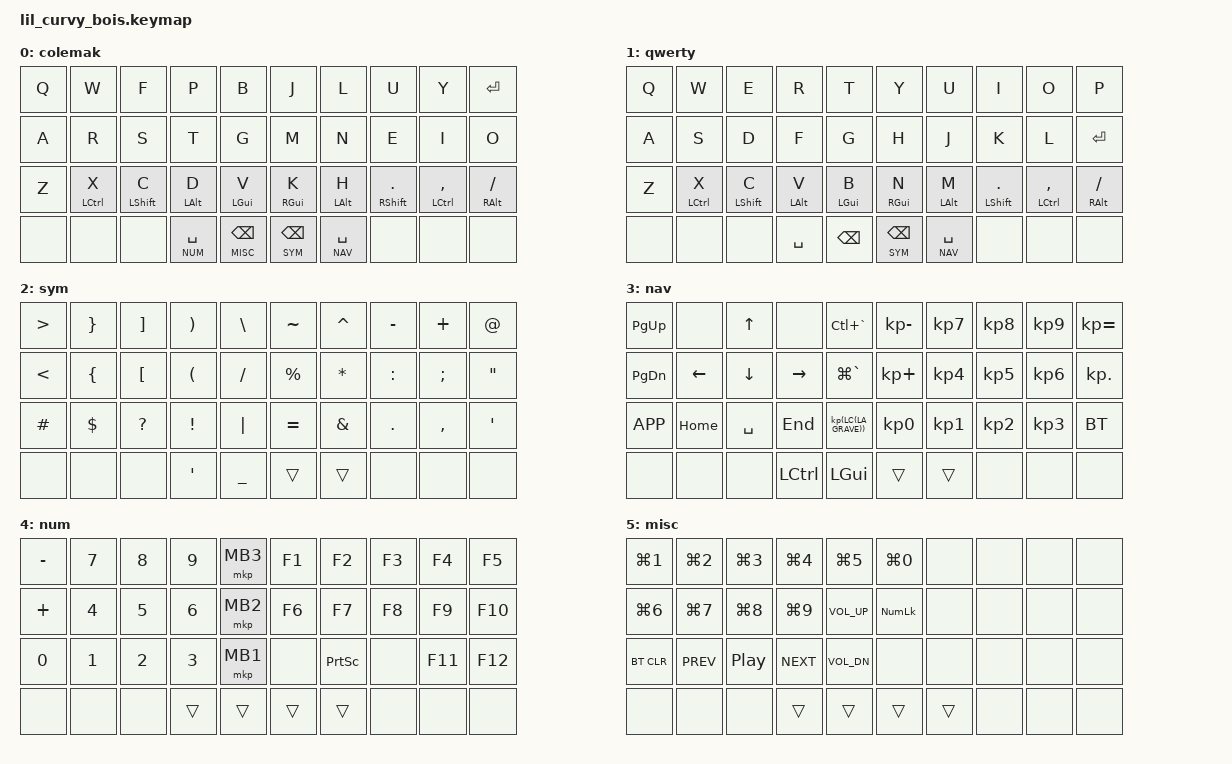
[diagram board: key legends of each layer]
#include <behaviors.dtsi>
#include <dt-bindings/zmk/keys.h>
#include <dt-bindings/zmk/bt.h>
#include <dt-bindings/zmk/outputs.h>
#include <dt-bindings/zmk/mouse.h>

#define COLEMAK 0
#define QWERTY 1
#define SYM 2
#define NAV 3
#define NUM 4
#define MISC 5

/ {
   behaviors {
             hm: homerow_mods {
                 compatible = "zmk,behavior-hold-tap";
                 label = "HOMEROW_MODS";
                 #binding-cells = <2>;
                 tapping-term-ms = <150>;
                 quick_tap_ms = <0>;
                 flavor = "tap-preferred";
                 bindings = <&kp>, <&kp>;
                 };
   };

keymap {
        compatible = "zmk,keymap";

colemak {
 bindings = <
 &kp Q &kp W       &kp F       &kp P      &kp B        &kp J      &kp L      &kp U         &kp Y           &kp ENTER
 &kp A &kp R       &kp S       &kp T      &kp G        &kp M      &kp N      &kp E         &kp I           &kp O
 &kp Z &hm LCTRL X &hm LSHFT C &hm LALT D &hm LGUI V   &hm RGUI K  &hm LALT H &hm RSHFT DOT &hm LCTRL COMMA &hm RALT SLASH
 &none &none &none        &lt NUM SPACE  &lt MISC BSPC &lt SYM BSPC &lt NAV SPACE &none &none &none
             >;
             };
             
///////////////////////////////////////////////////////////////////////////////////////////////////////////////////////////////
qwerty {
 bindings = <
 &kp Q &kp W       &kp E       &kp R      &kp T        &kp Y      &kp U      &kp I         &kp O           &kp P
 &kp A &kp S       &kp D       &kp F      &kp G        &kp H      &kp J      &kp K         &kp L           &kp ENTER
 &kp Z &hm LCTRL X &hm LSHFT C &hm LALT V &hm LGUI B   &hm RGUI N &hm LALT M &hm LSHFT DOT &hm LCTRL COMMA &hm RALT SLASH
 &none &none &none             &kp SPACE  &kp BSPC     &lt SYM BSPC   &lt NAV SPACE &none &none &none
             >;
             };
             
///////////////////////////////////////////////////////////////////////////////////////////////////////////////////////////////
sym {
 bindings = <
&kp GT    &kp RBRC  &kp RBKT  &kp RPAR  &kp BSLH       &kp TILDE &kp CARET &kp MINUS &kp PLUS  &kp AT 
&kp LT    &kp LBRC  &kp LBKT  &kp LPAR  &kp SLASH      &kp PRCNT &kp STAR  &kp COLON &kp SEMI  &kp DQT
&kp HASH  &kp DLLR  &kp QMARK &kp EXCL  &kp PIPE       &kp EQUAL &kp AMPS  &kp DOT   &kp COMMA &kp SQT
&none     &none     &none     &kp SQT   &kp UNDER      &trans    &trans    &none     &none     &none
>;};

 ///////////////////////////////////////////////////////////////////////////////////////////////////////////////////////////////
       nav {
              bindings = <
 &kp PG_UP &none    &kp UP    &none     &kp LC(GRAVE)      &kp KP_MINUS &kp KP_N7 &kp KP_N8 &kp KP_N9 &kp KP_EQUAL
 &kp PG_DN &kp LEFT &kp DOWN  &kp RIGHT &kp LG(GRAVE)      &kp KP_PLUS  &kp KP_N4 &kp KP_N5 &kp KP_N6 &kp KP_DOT
 &kp K_APP &kp HOME &kp SPACE &kp END   &kp(LC(LA GRAVE))  &kp KP_N0    &kp KP_N1 &kp KP_N2 &kp KP_N3 &bt BT_SEL
 &none     &none    &none     &kp LCTL  &kp LGUI           &trans       &trans     &none     &none     &none
 >;};
      

 ///////////////////////////////////////////////////////////////////////////////////////////////////////////////////////////////
        num {
              bindings = <
 &kp MINUS &kp N7 &kp N8 &kp N9 &mkp MB3       &kp F1  &kp F2    &kp F3  &kp F4  &kp F5
 &kp PLUS  &kp N4 &kp N5 &kp N6 &mkp MB2       &kp F6  &kp F7    &kp F8  &kp F9  &kp F10
 &kp N0    &kp N1 &kp N2 &kp N3 &mkp MB1       &none   &kp PSCRN &none   &kp F11 &kp F12
 &none     &none  &none  &trans &trans        &trans  &trans    &none   &none   &none
  >;};
     
 //////////////////////////////////////////////////////////////////////////////////////////////////////////////////////////////
        misc {
              bindings = <
 &kp LG(N1) &kp LG(N2)  &kp LG(N3) &kp LG(N4)  &kp LG(N5)     &kp LG(N0)  &none &none &none &none
 &kp LG(N6) &kp LG(N7)  &kp LG(N8) &kp LG(N9)  &kp C_VOL_UP   &kp KP_NUM  &none &none &none &none
 &bt BT_CLR &kp C_PREV  &kp C_PP   &kp C_NEXT  &kp C_VOL_DN   &none       &none &none &none &none
 &none     &none      &none     &trans      &trans            &trans      &trans &none &none &none
           >;};
  };
};

/ {
    combos {
        compatible = "zmk,combos";
        combo_esc {
            timeout-ms = <50>;
            key-positions = <0 1>;
            bindings = <&kp ESC>;
            };
        combo_tab {
            timeout-ms = <50>;
            key-positions = <3 4>;
            bindings = <&kp TAB>;
            };
         combo_del {
            timeout-ms = <50>;
            key-positions = <5 6>;
            bindings = <&kp DEL>;
        };
        combo_tog {
            timeout-ms = <50>;
            key-positions = <10 11>;
            bindings = <&tog QWERTY>;
        };
    };
};
